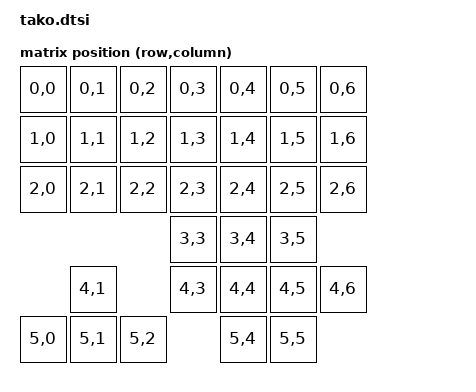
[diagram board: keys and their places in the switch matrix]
/*
 * Copyright (c) 2023 Sviatoslav Bulbakha
 *
 * SPDX-License-Identifier: MIT
 */

#include <dt-bindings/zmk/matrix_transform.h>

/ {
  chosen {
    zmk,matrix_transform = &default_transform;
  };

  default_transform: keymap_transform_0 {
    compatible = "zmk,matrix-transform";
    columns = <7>;
    rows = <6>;
    map = <
    RC(0,0) RC(0,1) RC(0,2)     RC(0,3) RC(0,4) RC(0,5) RC(0,6)
    RC(1,0) RC(1,1) RC(1,2)     RC(1,3) RC(1,4) RC(1,5) RC(1,6) 
    RC(2,0) RC(2,1) RC(2,2)     RC(2,3) RC(2,4) RC(2,5) RC(2,6)
                                RC(3,3) RC(3,4) RC(3,5) 
            RC(4,1)             RC(4,3) RC(4,4) RC(4,5) RC(4,6)
    RC(5,0) RC(5,1) RC(5,2)             RC(5,4) RC(5,5)  
    >;
  };
};

&i2c0 {
  status = "disabled";
};

&i2c1 {
  status = "disabled";
};



